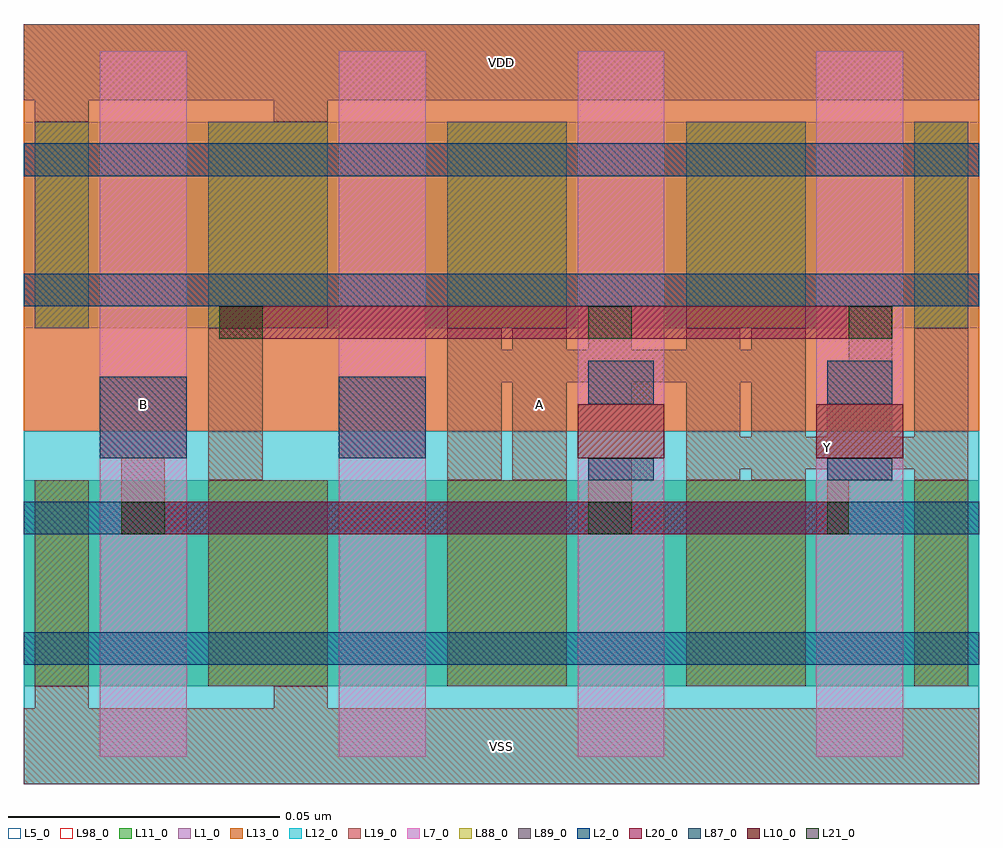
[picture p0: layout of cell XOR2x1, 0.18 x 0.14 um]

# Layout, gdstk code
import gdstk
lib = gdstk.Library(unit=1e-6, precision=1e-12)
def R(c, l, rs):  # rectangles x0, y0, x1, y1
    for r in rs: c.add(gdstk.rectangle(r[:2], r[2:], *l))
def A(c, l, x, y, w, h, nx, ny, dx, dy):  # array of equal rectangles
    R(c, l, [(x+i*dx, y+j*dy, x+i*dx+w, y+j*dy+h) for i in range(nx) for j in range(ny)])
L1_0 = (1, 0)
L2_0 = (2, 0)
L5_0 = (5, 0)
L7_0 = (7, 0)
L10_0 = (10, 0)
L11_0 = (11, 0)
L12_0 = (12, 0)
L13_0 = (13, 0)
L19_0 = (19, 0)
L20_0 = (20, 0)
L21_0 = (21, 0)
L87_0 = (87, 0)
L88_0 = (88, 0)
L89_0 = (89, 0)
L98_0 = (98, 0)

xor2x1 = lib.new_cell('XOR2x1')
R(xor2x1, L1_0, [(0,0.065,0.176,0.14)])
R(xor2x1, L2_0, [(0,0.022,0.176,0.028), (0,0.046,0.176,0.052), (0,0.088,0.176,0.094), (0,0.112,0.176,0.118)])
R(xor2x1, L5_0, [(0,0,0.176,0.14)])
A(xor2x1, L7_0, 0.014, 0.005, 0.016, 0.13, 4, 1, 0.044, 0)
R(xor2x1, L10_0, [(0.102,0.06,0.118,0.07), (0.146,0.06,0.162,0.07)])
R(xor2x1, L11_0, [(0,0.018,0.176,0.056), (0,0.084,0.176,0.122)])
R(xor2x1, L12_0, [(0,0,0.176,0.065)])
R(xor2x1, L13_0, [(0,0.065,0.176,0.14)])
R(xor2x1, L19_0, [(0,0,0.176,0.014), (0.002,0,0.012,0.018), (0.046,0,0.056,0.018), (0.018,0.046,0.026,0.06), (0.104,0.046,0.112,0.06), (0.148,0.046,0.152,0.078), (0.034,0.056,0.044,0.084), (0.078,0.056,0.088,0.084), (0.09,0.056,0.1,0.084), (0.122,0.056,0.132,0.084), (0.134,0.056,0.144,0.084), (0.152,0.056,0.16,0.088), (0.164,0.056,0.174,0.084), (0.122,0.058,0.174,0.064), (0.014,0.06,0.03,0.075), (0.058,0.06,0.074,0.075), (0.104,0.07,0.112,0.088), (0.078,0.074,0.144,0.08), (0.002,0.122,0.012,0.14), (0.046,0.122,0.056,0.14), (0,0.126,0.176,0.14)])
R(xor2x1, L20_0, [(0.018,0.046,0.152,0.052), (0.036,0.082,0.16,0.088)])
R(xor2x1, L21_0, [(0.018,0.046,0.026,0.052), (0.104,0.046,0.112,0.052), (0.148,0.046,0.152,0.052), (0.036,0.082,0.044,0.088), (0.104,0.082,0.112,0.088), (0.152,0.082,0.16,0.088)])
R(xor2x1, L87_0, [(0.104,0.056,0.116,0.06), (0.148,0.056,0.16,0.06), (0.014,0.06,0.03,0.075), (0.058,0.06,0.074,0.075), (0.104,0.07,0.116,0.078), (0.148,0.07,0.16,0.078)])
A(xor2x1, L88_0, 0.034, 0.018, 0.022, 0.038, 3, 2, 0.044, 0.066)
R(xor2x1, L88_0, [(0.002,0.018,0.012,0.056), (0.164,0.018,0.174,0.056), (0.002,0.084,0.012,0.122), (0.164,0.084,0.174,0.122)])
A(xor2x1, L89_0, 0.034, 0.018, 0.022, 0.038, 3, 2, 0.044, 0.066)
R(xor2x1, L89_0, [(0.002,0.018,0.012,0.056), (0.164,0.018,0.174,0.056), (0.002,0.084,0.012,0.122), (0.164,0.084,0.174,0.122)])
R(xor2x1, L98_0, [(0,0,0.176,0.14)])
xor2x1.add(gdstk.Label('A', (0.095,0.07), layer=101, texttype=0))
xor2x1.add(gdstk.Label('B', (0.022,0.07), layer=101, texttype=0))
xor2x1.add(gdstk.Label('Y', (0.148,0.062), layer=101, texttype=0))
xor2x1.add(gdstk.Label('VDD', (0.088,0.133), layer=101, texttype=0))
xor2x1.add(gdstk.Label('VSS', (0.088,0.007), layer=101, texttype=0))

lib.write_gds('XOR2x1.gds')
